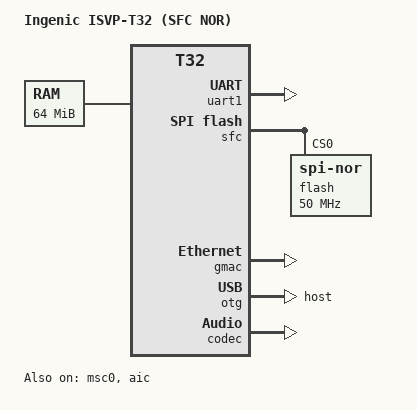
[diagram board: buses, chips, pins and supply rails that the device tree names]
// SPDX-License-Identifier: GPL-2.0+
/*
 * Ingenic ISVP-T32 shared board body (SFC-NOR, USB host).
 *
 * The per-SKU leaf .dts files (t32lq-isvp.dts, ...) include this and
 * set the DDR node's per-SKU compatible (ingenic,t32<sku>-ddr-innophy),
 * which selects the variant table in the DDR driver. The matching
 * <leaf>-u-boot.dtsi pulls in t32-isvp-uboot-common.dtsi (binman image
 * + SPL bootph).
 */

#include <dt-bindings/gpio/gpio.h>
#include "t32.dtsi"

/ {
	compatible = "ingenic,isvp-t32", "ingenic,t32";
	model = "Ingenic ISVP-T32 (SFC NOR)";

	aliases {
		serial1 = &uart1;
	};

	chosen {
		stdout-path = "serial1:115200n8";
	};

	memory {
		device_type = "memory";
		/* Placeholder; the DDR driver reports the real per-SKU size. */
		reg = <0x0 0x04000000>;
	};
};

&uart1 {
	status = "okay";
};

&sfc {
	status = "okay";

	flash@0 {
		compatible = "jedec,spi-nor";
		reg = <0>;
		spi-max-frequency = <50000000>;
	};
};

&msc0 {
	status = "okay";
};

&gmac {
	status = "okay";
	/* No PHY reset line by default (the driver falls back to an MDIO
	 * BMCR soft-reset). Boards that wire one add ingenic,reset-gpio
	 * here, like T31 (vendor T32 reference: PB26 active-low). */
};

&otg {
	status = "okay";
	/* Host by default; USB-NIC and mass-storage commands need a
	 * host controller. Switch to "peripheral" via the dedicated
	 * isvp_t32_usbboot defconfig + DT pair for DFU loads. */
	dr_mode = "host";
};

&aic {
	status = "okay";
};

&codec {
	status = "okay";
	ingenic,spk-gpio = <&gpb 31 GPIO_ACTIVE_LOW>;
};

&sound {
	status = "okay";
};
